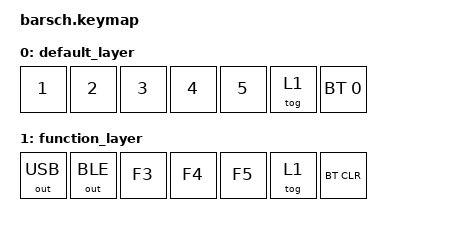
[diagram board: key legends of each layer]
#include <behaviors.dtsi>
#include <dt-bindings/zmk/keys.h>
#include <dt-bindings/zmk/rgb.h>
#include <dt-bindings/zmk/bt.h>
#include <dt-bindings/zmk/outputs.h> /* Wichtig für die USB/BLE-Umschaltung */

/ {
    keymap {
        compatible = "zmk,keymap";

        /* Ebene 0: Standard-Modus beim Starten */
        default_layer {
            bindings = <
                &kp N1          /* Taste 1 (D0): Schreibt '1' */
                &kp N2          /* Taste 2 (D1): Schreibt '2' */
                &kp N3          /* Taste 3 (D2): Schreibt '3' */
                &kp N4          /* Taste 4 (D3): Schreibt '4' */
                &kp N5          /* Taste 5 (D4): Schreibt '5' */
                &tog 1          /* Taste 6 (D7): EINMAL DRÜCKEN -> Schaltet Ebene 1 EIN */
                &bt BT_SEL 0    /* Taste 7 (D9): Bluetooth-Profil 0 */
            >;
        };

        /* Ebene 1: Funktionsebene */
        function_layer {
            bindings = <
                &out OUT_USB    /* Taste 1 (D0): Zwingt das Board in den USB-Kabel-Modus! */
                &out OUT_BLE    /* Taste 2 (D1): Schaltet zurück auf Bluetooth-Senden */
                &kp F3          /* Taste 3 (D2): Schreibt 'F3' */
                &kp F4          /* Taste 4 (D3): Schreibt 'F4' */
                &kp F5          /* Taste 5 (D4): Schreibt 'F5' */
                &tog 1          /* Taste 6 (D7): EINMAL DRÜCKEN -> Schaltet Ebene 1 wieder AUS */
                &bt BT_CLR      /* Taste 7 (D9): Bluetooth Reset (Löscht alte Verbindungen) */
            >;
        };
    };
};
